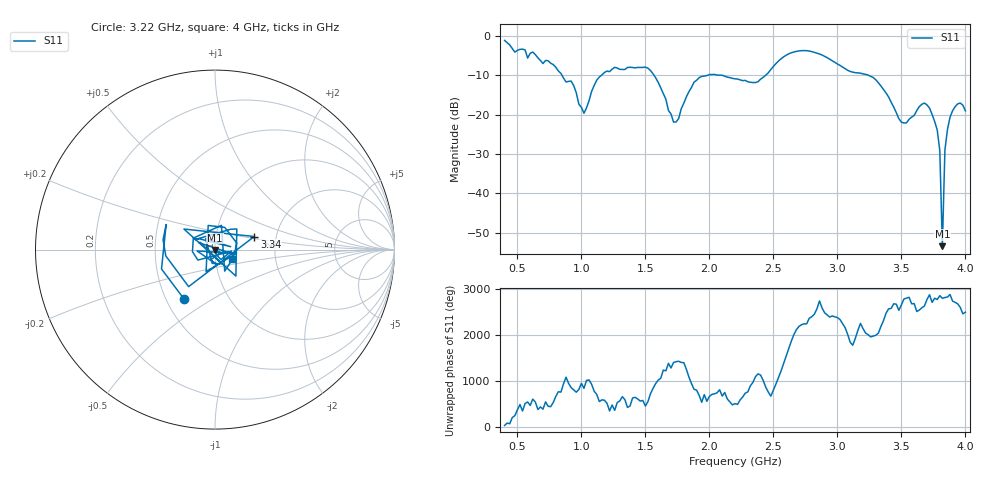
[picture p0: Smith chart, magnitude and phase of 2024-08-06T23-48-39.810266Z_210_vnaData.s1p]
!Created with skrf (http://scikit-rf.org).
# Hz S RI R 50.0
!freq ReS11 ImS11
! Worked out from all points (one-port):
!   181 points, 400 MHz to 4 GHz, reference 50 ohm
!   lowest |S11| = -53.4 dB at 3.82 GHz (marker M1), VSWR 1.00, Z = 50 - j0.213 ohm
!   |S11| at or under -10 dB: 1.567 GHz to 1.989 GHz (422.1 MHz wide, 23.7 % of centre); 2.081 GHz to 2.44 GHz (359.5 MHz wide, 15.9 % of centre); 3.241 GHz to end of sweep (the widest 3 of 4)
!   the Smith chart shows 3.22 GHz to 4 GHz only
!   S11 on the Smith chart (normalised r, x): 3.22 GHz: 0.62, -0.38; 3.34 GHz: 1.54, +0.24; 4 GHz: 1.21, -0.13
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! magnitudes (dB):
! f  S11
! 400 MHz  -1.2
! 740 MHz  -6.3
! 860 MHz  -10.7
! 920 MHz  -11.5
! 1.02 GHz  -19.7
! 1.12 GHz  -11.3
! 1.3 GHz  -8.5
! 1.52 GHz  -8.2
! 1.6 GHz  -11.8
! 1.72 GHz  -21.9
! 1.76 GHz  -21.0
! 1.92 GHz  -10.6
! 2.2 GHz  -10.9
! 2.38 GHz  -11.7
! 2.66 GHz  -4.1
! 3.1 GHz  -9.1
! 3.22 GHz  -9.8
! 3.34 GHz  -12.7
! 3.5 GHz  -21.9
! 3.56 GHz  -21.2
! 3.68 GHz  -17.1
! 3.78 GHz  -23.9
! 3.8 GHz  -29.1
! 3.82 GHz  -53.4
! 3.84 GHz  -29.0
! 3.86 GHz  -23.8
! 3.94 GHz  -17.3
! 4 GHz  -19.1
